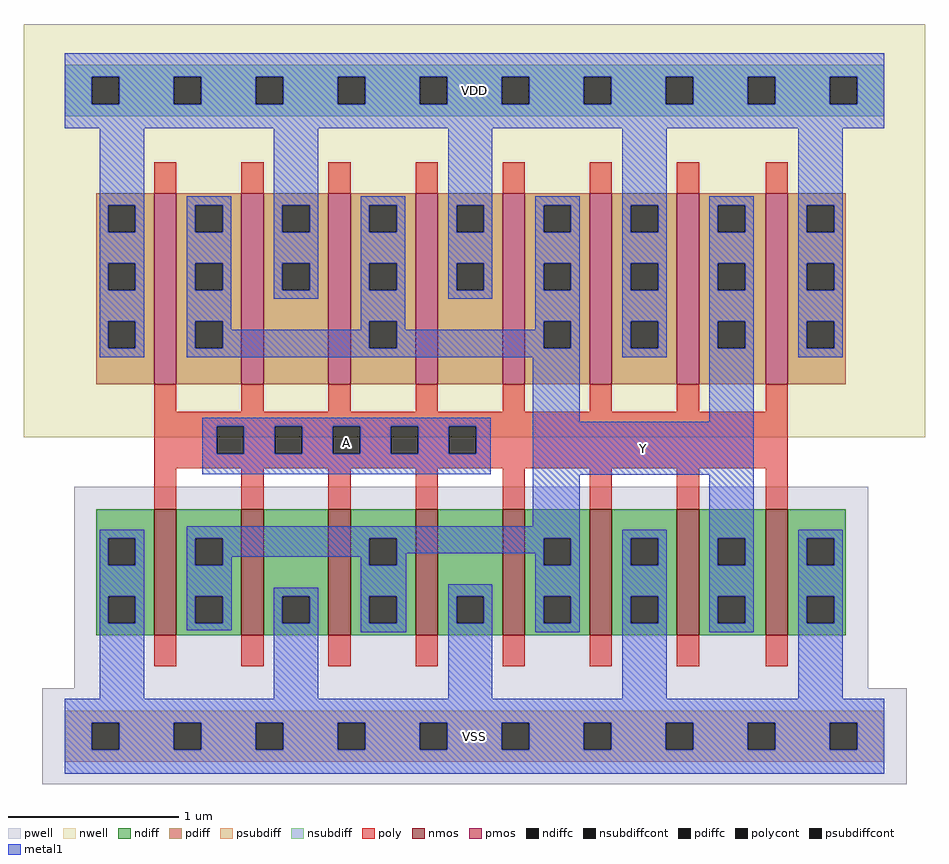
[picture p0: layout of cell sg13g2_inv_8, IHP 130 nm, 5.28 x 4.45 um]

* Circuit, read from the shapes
.subckt sg13g2_inv_8 Y A VSS VDD
XM1 Y A VSS VSS sg13_lv_nmos w=0.74u l=0.13u m=8
XM2 Y A VDD VDD sg13_lv_pmos w=1.12u l=0.13u m=8
.ends

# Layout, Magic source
magic
tech ihp-sg13g2
magscale 1 2
<< nwell >>
rect -48 350 1008 834
<< pwell >>
rect 11 56 941 292
rect -26 -56 986 56
<< nmos >>
rect 105 118 131 266
rect 207 118 233 266
rect 309 118 335 266
rect 411 118 437 266
rect 513 118 539 266
rect 615 118 641 266
rect 717 118 743 266
rect 821 118 847 266
<< pmos >>
rect 105 412 131 636
rect 207 412 233 636
rect 309 412 335 636
rect 411 412 437 636
rect 513 412 539 636
rect 615 412 641 636
rect 717 412 743 636
rect 821 412 847 636
<< ndiff >>
rect 37 232 105 266
rect 37 200 51 232
rect 83 200 105 232
rect 37 164 105 200
rect 37 132 51 164
rect 83 132 105 164
rect 37 118 105 132
rect 131 232 207 266
rect 131 200 153 232
rect 185 200 207 232
rect 131 164 207 200
rect 131 132 153 164
rect 185 132 207 164
rect 131 118 207 132
rect 233 164 309 266
rect 233 132 255 164
rect 287 132 309 164
rect 233 118 309 132
rect 335 232 411 266
rect 335 200 357 232
rect 389 200 411 232
rect 335 164 411 200
rect 335 132 357 164
rect 389 132 411 164
rect 335 118 411 132
rect 437 164 513 266
rect 437 132 459 164
rect 491 132 513 164
rect 437 118 513 132
rect 539 232 615 266
rect 539 200 561 232
rect 593 200 615 232
rect 539 164 615 200
rect 539 132 561 164
rect 593 132 615 164
rect 539 118 615 132
rect 641 232 717 266
rect 641 200 663 232
rect 695 200 717 232
rect 641 164 717 200
rect 641 132 663 164
rect 695 132 717 164
rect 641 118 717 132
rect 743 232 821 266
rect 743 200 765 232
rect 797 200 821 232
rect 743 164 821 200
rect 743 132 765 164
rect 797 132 821 164
rect 743 118 821 132
rect 847 232 915 266
rect 847 200 869 232
rect 901 200 915 232
rect 847 164 915 200
rect 847 132 869 164
rect 901 132 915 164
rect 847 118 915 132
<< pdiff >>
rect 37 622 105 636
rect 37 590 51 622
rect 83 590 105 622
rect 37 554 105 590
rect 37 522 51 554
rect 83 522 105 554
rect 37 486 105 522
rect 37 454 51 486
rect 83 454 105 486
rect 37 412 105 454
rect 131 622 207 636
rect 131 590 153 622
rect 185 590 207 622
rect 131 554 207 590
rect 131 522 153 554
rect 185 522 207 554
rect 131 486 207 522
rect 131 454 153 486
rect 185 454 207 486
rect 131 412 207 454
rect 233 622 309 636
rect 233 590 255 622
rect 287 590 309 622
rect 233 554 309 590
rect 233 522 255 554
rect 287 522 309 554
rect 233 412 309 522
rect 335 622 411 636
rect 335 590 357 622
rect 389 590 411 622
rect 335 554 411 590
rect 335 522 357 554
rect 389 522 411 554
rect 335 486 411 522
rect 335 454 357 486
rect 389 454 411 486
rect 335 412 411 454
rect 437 622 513 636
rect 437 590 459 622
rect 491 590 513 622
rect 437 554 513 590
rect 437 522 459 554
rect 491 522 513 554
rect 437 412 513 522
rect 539 622 615 636
rect 539 590 561 622
rect 593 590 615 622
rect 539 554 615 590
rect 539 522 561 554
rect 593 522 615 554
rect 539 486 615 522
rect 539 454 561 486
rect 593 454 615 486
rect 539 412 615 454
rect 641 622 717 636
rect 641 590 663 622
rect 695 590 717 622
rect 641 554 717 590
rect 641 522 663 554
rect 695 522 717 554
rect 641 486 717 522
rect 641 454 663 486
rect 695 454 717 486
rect 641 412 717 454
rect 743 622 821 636
rect 743 590 765 622
rect 797 590 821 622
rect 743 554 821 590
rect 743 522 765 554
rect 797 522 821 554
rect 743 486 821 522
rect 743 454 765 486
rect 797 454 821 486
rect 743 412 821 454
rect 847 622 915 636
rect 847 590 869 622
rect 901 590 915 622
rect 847 554 915 590
rect 847 522 869 554
rect 901 522 915 554
rect 847 486 915 522
rect 847 454 869 486
rect 901 454 915 486
rect 847 412 915 454
<< ndiffc >>
rect 51 200 83 232
rect 51 132 83 164
rect 153 200 185 232
rect 153 132 185 164
rect 255 132 287 164
rect 357 200 389 232
rect 357 132 389 164
rect 459 132 491 164
rect 561 200 593 232
rect 561 132 593 164
rect 663 200 695 232
rect 663 132 695 164
rect 765 200 797 232
rect 765 132 797 164
rect 869 200 901 232
rect 869 132 901 164
<< pdiffc >>
rect 51 590 83 622
rect 51 522 83 554
rect 51 454 83 486
rect 153 590 185 622
rect 153 522 185 554
rect 153 454 185 486
rect 255 590 287 622
rect 255 522 287 554
rect 357 590 389 622
rect 357 522 389 554
rect 357 454 389 486
rect 459 590 491 622
rect 459 522 491 554
rect 561 590 593 622
rect 561 522 593 554
rect 561 454 593 486
rect 663 590 695 622
rect 663 522 695 554
rect 663 454 695 486
rect 765 590 797 622
rect 765 522 797 554
rect 765 454 797 486
rect 869 590 901 622
rect 869 522 901 554
rect 869 454 901 486
<< psubdiff >>
rect 0 16 960 30
rect 0 -16 32 16
rect 64 -16 128 16
rect 160 -16 224 16
rect 256 -16 320 16
rect 352 -16 416 16
rect 448 -16 512 16
rect 544 -16 608 16
rect 640 -16 704 16
rect 736 -16 800 16
rect 832 -16 896 16
rect 928 -16 960 16
rect 0 -30 960 -16
<< nsubdiff >>
rect 0 772 960 786
rect 0 740 32 772
rect 64 740 128 772
rect 160 740 224 772
rect 256 740 320 772
rect 352 740 416 772
rect 448 740 512 772
rect 544 740 608 772
rect 640 740 704 772
rect 736 740 800 772
rect 832 740 896 772
rect 928 740 960 772
rect 0 726 960 740
<< psubdiffcont >>
rect 32 -16 64 16
rect 128 -16 160 16
rect 224 -16 256 16
rect 320 -16 352 16
rect 416 -16 448 16
rect 512 -16 544 16
rect 608 -16 640 16
rect 704 -16 736 16
rect 800 -16 832 16
rect 896 -16 928 16
<< nsubdiffcont >>
rect 32 740 64 772
rect 128 740 160 772
rect 224 740 256 772
rect 320 740 352 772
rect 416 740 448 772
rect 512 740 544 772
rect 608 740 640 772
rect 704 740 736 772
rect 800 740 832 772
rect 896 740 928 772
<< poly >>
rect 105 636 131 672
rect 207 636 233 672
rect 309 636 335 672
rect 411 636 437 672
rect 513 636 539 672
rect 615 636 641 672
rect 717 636 743 672
rect 821 636 847 672
rect 105 380 131 412
rect 207 380 233 412
rect 309 380 335 412
rect 411 380 437 412
rect 513 380 539 412
rect 615 380 641 412
rect 717 380 743 412
rect 821 380 847 412
rect 105 363 847 380
rect 105 331 178 363
rect 210 331 246 363
rect 278 331 314 363
rect 346 331 382 363
rect 414 331 450 363
rect 482 331 847 363
rect 105 314 847 331
rect 105 266 131 314
rect 207 266 233 314
rect 309 266 335 314
rect 411 266 437 314
rect 513 266 539 314
rect 615 266 641 314
rect 717 266 743 314
rect 821 266 847 314
rect 105 82 131 118
rect 207 82 233 118
rect 309 82 335 118
rect 411 82 437 118
rect 513 82 539 118
rect 615 82 641 118
rect 717 82 743 118
rect 821 82 847 118
<< polycont >>
rect 178 331 210 363
rect 246 331 278 363
rect 314 331 346 363
rect 382 331 414 363
rect 450 331 482 363
<< metal1 >>
rect 0 772 960 800
rect 0 740 32 772
rect 64 740 128 772
rect 160 740 224 772
rect 256 740 320 772
rect 352 740 416 772
rect 448 740 512 772
rect 544 740 608 772
rect 640 740 704 772
rect 736 740 800 772
rect 832 740 896 772
rect 928 740 960 772
rect 0 712 960 740
rect 41 622 93 712
rect 41 590 51 622
rect 83 590 93 622
rect 41 554 93 590
rect 41 522 51 554
rect 83 522 93 554
rect 41 486 93 522
rect 41 454 51 486
rect 83 454 93 486
rect 41 444 93 454
rect 143 622 195 632
rect 143 590 153 622
rect 185 590 195 622
rect 143 554 195 590
rect 143 522 153 554
rect 185 522 195 554
rect 143 486 195 522
rect 245 622 297 712
rect 245 590 255 622
rect 287 590 297 622
rect 245 554 297 590
rect 245 522 255 554
rect 287 522 297 554
rect 245 512 297 522
rect 347 622 399 632
rect 347 590 357 622
rect 389 590 399 622
rect 347 554 399 590
rect 347 522 357 554
rect 389 522 399 554
rect 143 454 153 486
rect 185 476 195 486
rect 347 486 399 522
rect 449 622 501 712
rect 449 590 459 622
rect 491 590 501 622
rect 449 554 501 590
rect 449 522 459 554
rect 491 522 501 554
rect 449 512 501 522
rect 551 622 603 632
rect 551 590 561 622
rect 593 590 603 622
rect 551 554 603 590
rect 551 522 561 554
rect 593 522 603 554
rect 347 476 357 486
rect 185 454 357 476
rect 389 476 399 486
rect 551 486 603 522
rect 551 476 561 486
rect 389 454 561 476
rect 593 454 603 486
rect 143 444 603 454
rect 653 622 705 712
rect 653 590 663 622
rect 695 590 705 622
rect 653 554 705 590
rect 653 522 663 554
rect 695 522 705 554
rect 653 486 705 522
rect 653 454 663 486
rect 695 454 705 486
rect 653 444 705 454
rect 755 622 807 632
rect 755 590 765 622
rect 797 590 807 622
rect 755 554 807 590
rect 755 522 765 554
rect 797 522 807 554
rect 755 486 807 522
rect 755 454 765 486
rect 797 454 807 486
rect 161 363 499 373
rect 161 331 178 363
rect 210 331 246 363
rect 278 331 314 363
rect 346 331 382 363
rect 414 331 450 363
rect 482 331 499 363
rect 161 307 499 331
rect 548 368 603 444
rect 755 368 807 454
rect 859 622 911 712
rect 859 590 869 622
rect 901 590 911 622
rect 859 554 911 590
rect 859 522 869 554
rect 901 522 911 554
rect 859 486 911 522
rect 859 454 869 486
rect 901 454 911 486
rect 859 444 911 454
rect 548 306 807 368
rect 548 246 603 306
rect 41 232 93 242
rect 41 200 51 232
rect 83 200 93 232
rect 41 164 93 200
rect 41 132 51 164
rect 83 132 93 164
rect 41 44 93 132
rect 143 232 603 246
rect 143 200 153 232
rect 185 210 357 232
rect 185 200 196 210
rect 143 164 196 200
rect 347 200 357 210
rect 389 214 561 232
rect 389 200 400 214
rect 143 132 153 164
rect 185 132 196 164
rect 143 124 196 132
rect 245 164 297 174
rect 245 132 255 164
rect 287 132 297 164
rect 245 44 297 132
rect 347 164 400 200
rect 551 200 561 214
rect 593 200 603 232
rect 347 132 357 164
rect 389 132 400 164
rect 347 122 400 132
rect 449 164 501 178
rect 449 132 459 164
rect 491 132 501 164
rect 449 44 501 132
rect 551 164 603 200
rect 551 132 561 164
rect 593 132 603 164
rect 551 122 603 132
rect 653 232 705 242
rect 653 200 663 232
rect 695 200 705 232
rect 653 164 705 200
rect 653 132 663 164
rect 695 132 705 164
rect 653 44 705 132
rect 755 232 807 306
rect 755 200 765 232
rect 797 200 807 232
rect 755 164 807 200
rect 755 132 765 164
rect 797 132 807 164
rect 755 122 807 132
rect 859 232 911 242
rect 859 200 869 232
rect 901 200 911 232
rect 859 164 911 200
rect 859 132 869 164
rect 901 132 911 164
rect 859 44 911 132
rect 0 16 960 44
rect 0 -16 32 16
rect 64 -16 128 16
rect 160 -16 224 16
rect 256 -16 320 16
rect 352 -16 416 16
rect 448 -16 512 16
rect 544 -16 608 16
rect 640 -16 704 16
rect 736 -16 800 16
rect 832 -16 896 16
rect 928 -16 960 16
rect 0 -44 960 -16
<< labels >>
flabel metal1 s 548 306 807 368 0 FreeSans 400 0 0 0 Y
port 2 nsew
flabel metal1 s 161 314 499 373 0 FreeSans 400 0 0 0 A
port 3 nsew
flabel metal1 s 0 -44 960 44 0 FreeSans 400 0 0 0 VSS
port 4 nsew
flabel metal1 s 0 712 960 800 0 FreeSans 400 0 0 0 VDD
port 5 nsew
<< properties >>
string FIXED_BBOX 0 0 960 756
<< end >>
